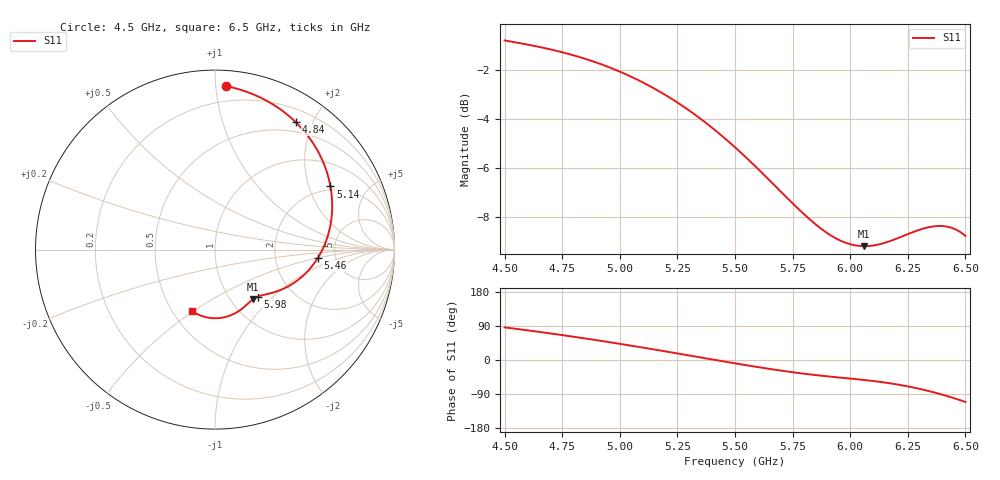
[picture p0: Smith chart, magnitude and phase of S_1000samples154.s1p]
! TOUCHSTONE file generated by CST MICROWAVE STUDIO
! Date and time: Thu Oct 27 04:31:16 2022
! Project name: L.cst
! Parameters = {Di=1.27; Epsilon_r=1.56; InnerDiameter=1.27; Length=2; Lf=10; Lg=60; OuterConductorThickness=0.2921; OuterDiameter=3.6; Wf=3; Wp=41.2; de=1.5; df=6.8; g=0.8; gx=0.84542; gy=3.62198; h=2.34; hf=1.524; px=9.60478; py=11.3957; w=9.7; wx=8.75936; wy=7.77369}
! Header version: 2018
! Port assignment regex: !\s*Touchstone port\s*([0-9]+)\s*=\s*(CST MWS port|CST DS port)\s*([0-9]+|Zmin|Zmax)\s*\(\"(.*)\"\)(\s*mode\s*([0-9]+))?.*
! Touchstone port assignment:
! Touchstone port 1 = CST MWS port 1 ("")
# GHz S DB R 50
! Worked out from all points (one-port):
!   101 points, 4.5 GHz to 6.5 GHz, reference 50 ohm
!   lowest |S11| = -9.2 dB at 6.06 GHz (marker M1), VSWR 2.07, Z = 62.8 - j39.6 ohm
!   |S11| at or under -10 dB: nowhere
!   S11 on the Smith chart (normalised r, x): 4.5 GHz: 0.10, +1.07; 4.84 GHz: 0.36, +1.76; 5.14 GHz: 1.84, +2.80; 5.46 GHz: 3.63, -0.51; 5.98 GHz: 1.35, -0.81; 6.5 GHz: 0.62, -0.49
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4.5  -0.79 86.1
4.58  -0.92 79.8
4.64  -1.03 75.0
4.76  -1.29 64.8
4.84  -1.51 57.7
4.92  -1.76 50.3
5  -2.06 42.6
5.08  -2.40 34.7
5.14  -2.70 28.7
5.2  -3.02 22.5
5.26  -3.38 16.3
5.36  -4.05 5.8
5.46  -4.81 -4.7
5.5  -5.14 -8.8
5.56  -5.66 -14.9
5.62  -6.21 -20.7
5.68  -6.77 -26.3
5.76  -7.51 -33.1
5.86  -8.36 -40.4
5.98  -9.03 -47.8
6  -9.09 -49.0
6.06  -9.17 -52.7
6.18  -8.94 -62.2
6.26  -8.64 -70.8
6.32  -8.45 -78.8
6.4  -8.35 -91.5
6.46  -8.50 -102.6
6.5  -8.75 -110.7
